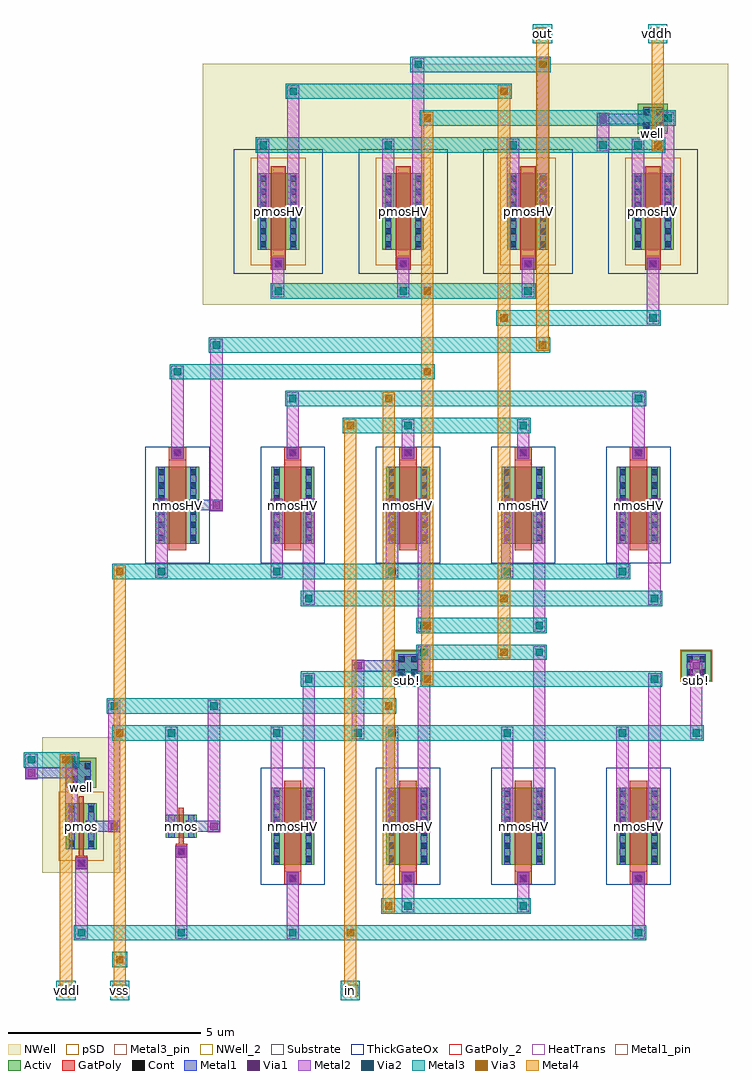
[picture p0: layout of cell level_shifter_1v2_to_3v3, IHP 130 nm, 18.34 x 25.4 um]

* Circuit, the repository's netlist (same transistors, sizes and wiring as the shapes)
** sch_path: /home/arjun/eda/projects/SAR_ADC/circuit_files/sar_adc_test/xschem/level_shifter_1v2_to_3v3.sch
.subckt level_shifter_1v2_to_3v3 vss vddl vddh out in
*.PININFO vddl:B vddh:B out:B vss:B in:B
MM1 inb in vss vss sg13_lv_nmos w=0.6u l=0.13u ng=1
MM2 inb in vddl vddl sg13_lv_pmos w=1.2u l=0.13u ng=1
MM3 a in vss vss sg13_hv_nmos w=2u l=0.45u ng=1 m=4
MM4 b inb vss vss sg13_hv_nmos w=2u l=0.45u ng=1 m=4
MM5 b a vddh vddh sg13_hv_pmos w=2u l=0.4u ng=1
MM6 a b vddh vddh sg13_hv_pmos w=2u l=0.4u ng=1
MM12 out a vss vss sg13_hv_nmos w=2u l=0.45u ng=1
MM16 out a vddh vddh sg13_hv_pmos w=2u l=0.4u ng=1 m=2
.ends

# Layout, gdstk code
import gdstk
lib = gdstk.Library(unit=1e-6, precision=1e-09)
def R(c, l, rs):  # rectangles x0, y0, x1, y1
    for r in rs: c.add(gdstk.rectangle(r[:2], r[2:], *l))
def A(c, l, x, y, w, h, nx, ny, dx, dy):  # array of equal rectangles
    R(c, l, [(x+i*dx, y+j*dy, x+i*dx+w, y+j*dy+h) for i in range(nx) for j in range(ny)])
Activ = (1, 0)
GatPoly = (5, 0)
GatPoly_2 = (5, 2)
Cont = (6, 0)
Metal1 = (8, 0)
Metal1_pin = (8, 2)
Metal2 = (10, 0)
pSD = (14, 0)
Via1 = (19, 0)
Via2 = (29, 0)
Metal3 = (30, 0)
Metal3_pin = (30, 2)
NWell = (31, 0)
NWell_2 = (31, 2)
Substrate = (40, 0)
ThickGateOx = (44, 0)
Via3 = (49, 0)
Metal4 = (50, 0)
HeatTrans = (51, 0)

level_shifter_1v2_to_3v3 = lib.new_cell('level_shifter_1v2_to_3v3')
A(level_shifter_1v2_to_3v3, Activ, -2.735, 3.27, 1.13, 2, 4, 1, 3, 0)
A(level_shifter_1v2_to_3v3, Activ, -5.735, 11.63, 1.13, 2, 5, 1, 3, 0)
A(level_shifter_1v2_to_3v3, Activ, -3.085, 19.27, 1.08, 2, 4, 1, 3.25, 0)
R(level_shifter_1v2_to_3v3, Activ, [(-2.735,3.27,-2.435,3.57), (-1.905,3.27,-1.605,3.57), (0.265,3.27,0.565,3.57), (1.095,3.27,1.395,3.57), (3.265,3.27,3.565,3.57), (4.095,3.27,4.395,3.57), (6.265,3.27,6.565,3.57), (7.095,3.27,7.395,3.57), (-8.075,3.67,-7.775,3.97), (-8.075,3.67,-7.265,4.87), (-7.565,3.67,-7.265,3.97), (-5.475,3.97,-5.175,4.27), (-5.475,3.97,-4.665,4.57), (-4.965,3.97,-4.665,4.27), (-8.06,5.27,-7.28,6.05), (0.44,8.06,1.22,8.84), (7.94,8.06,8.72,8.84), (-5.735,11.63,-5.435,11.93), (-4.905,11.63,-4.605,11.93), (-2.735,11.63,-2.435,11.93), (-1.905,11.63,-1.605,11.93), (0.265,11.63,0.565,11.93), (1.095,11.63,1.395,11.93), (3.265,11.63,3.565,11.93), (4.095,11.63,4.395,11.93), (6.265,11.63,6.565,11.93), (7.095,11.63,7.395,11.93), (-3.085,19.27,-2.785,19.57), (-2.305,19.27,-2.005,19.57), (0.165,19.27,0.465,19.57), (0.945,19.27,1.245,19.57), (3.415,19.27,3.715,19.57), (4.195,19.27,4.495,19.57), (6.665,19.27,6.965,19.57), (7.445,19.27,7.745,19.57), (6.815,22.29,7.595,23.07)])
A(level_shifter_1v2_to_3v3, GatPoly, -2.395, 2.76, 0.45, 0.35, 4, 1, 3, 0)
A(level_shifter_1v2_to_3v3, GatPoly, -2.395, 3.09, 0.45, 2.36, 4, 1, 3, 0)
A(level_shifter_1v2_to_3v3, GatPoly, -5.395, 11.45, 0.45, 2.36, 5, 1, 3, 0)
A(level_shifter_1v2_to_3v3, GatPoly, -5.395, 13.79, 0.45, 0.35, 5, 1, 3, 0)
A(level_shifter_1v2_to_3v3, GatPoly, -2.745, 18.76, 0.4, 0.35, 4, 1, 3.25, 0)
A(level_shifter_1v2_to_3v3, GatPoly, -2.745, 19.09, 0.4, 2.36, 4, 1, 3.25, 0)
R(level_shifter_1v2_to_3v3, GatPoly, [(-7.82,3.16,-7.52,3.51), (-5.22,3.46,-4.92,3.81), (-7.735,3.49,-7.605,5.05), (-7.735,3.49,-7.605,5.05), (-5.135,3.79,-5.005,4.75)])
A(level_shifter_1v2_to_3v3, GatPoly_2, -2.395, 3.09, 0.45, 2.36, 4, 1, 3, 0)
A(level_shifter_1v2_to_3v3, GatPoly_2, -5.395, 11.45, 0.45, 2.36, 5, 1, 3, 0)
A(level_shifter_1v2_to_3v3, GatPoly_2, -2.745, 19.09, 0.4, 2.36, 4, 1, 3.25, 0)
R(level_shifter_1v2_to_3v3, GatPoly_2, [(-5.135,3.79,-5.005,4.75)])
A(level_shifter_1v2_to_3v3, Cont, -2.25, 2.83, 0.16, 0.16, 4, 1, 3, 0)
A(level_shifter_1v2_to_3v3, Cont, -2.665, 3.34, 0.16, 0.16, 1, 6, 0, 0.34)
A(level_shifter_1v2_to_3v3, Cont, -1.835, 3.34, 0.16, 0.16, 1, 6, 0, 0.34)
A(level_shifter_1v2_to_3v3, Cont, 0.335, 3.34, 0.16, 0.16, 1, 6, 0, 0.34)
A(level_shifter_1v2_to_3v3, Cont, 1.165, 3.34, 0.16, 0.16, 1, 6, 0, 0.34)
A(level_shifter_1v2_to_3v3, Cont, 3.335, 3.34, 0.16, 0.16, 1, 6, 0, 0.34)
A(level_shifter_1v2_to_3v3, Cont, 4.165, 3.34, 0.16, 0.16, 1, 6, 0, 0.34)
A(level_shifter_1v2_to_3v3, Cont, 6.335, 3.34, 0.16, 0.16, 1, 6, 0, 0.34)
A(level_shifter_1v2_to_3v3, Cont, 7.165, 3.34, 0.16, 0.16, 1, 6, 0, 0.34)
A(level_shifter_1v2_to_3v3, Cont, -8.005, 3.74, 0.16, 0.16, 1, 3, 0, 0.45)
A(level_shifter_1v2_to_3v3, Cont, -7.495, 3.74, 0.16, 0.16, 1, 3, 0, 0.45)
A(level_shifter_1v2_to_3v3, Cont, -5.665, 11.7, 0.16, 0.16, 1, 6, 0, 0.34)
A(level_shifter_1v2_to_3v3, Cont, -4.835, 11.7, 0.16, 0.16, 1, 6, 0, 0.34)
A(level_shifter_1v2_to_3v3, Cont, -2.665, 11.7, 0.16, 0.16, 1, 6, 0, 0.34)
A(level_shifter_1v2_to_3v3, Cont, -1.835, 11.7, 0.16, 0.16, 1, 6, 0, 0.34)
A(level_shifter_1v2_to_3v3, Cont, 0.335, 11.7, 0.16, 0.16, 1, 6, 0, 0.34)
A(level_shifter_1v2_to_3v3, Cont, 1.165, 11.7, 0.16, 0.16, 1, 6, 0, 0.34)
A(level_shifter_1v2_to_3v3, Cont, 3.335, 11.7, 0.16, 0.16, 1, 6, 0, 0.34)
A(level_shifter_1v2_to_3v3, Cont, 4.165, 11.7, 0.16, 0.16, 1, 6, 0, 0.34)
A(level_shifter_1v2_to_3v3, Cont, 6.335, 11.7, 0.16, 0.16, 1, 6, 0, 0.34)
A(level_shifter_1v2_to_3v3, Cont, 7.165, 11.7, 0.16, 0.16, 1, 6, 0, 0.34)
A(level_shifter_1v2_to_3v3, Cont, -5.25, 13.91, 0.16, 0.16, 5, 1, 3, 0)
A(level_shifter_1v2_to_3v3, Cont, -2.625, 18.83, 0.16, 0.16, 4, 1, 3.25, 0)
A(level_shifter_1v2_to_3v3, Cont, -3.015, 19.34, 0.16, 0.16, 1, 6, 0, 0.34)
A(level_shifter_1v2_to_3v3, Cont, -2.235, 19.34, 0.16, 0.16, 1, 6, 0, 0.34)
A(level_shifter_1v2_to_3v3, Cont, 0.235, 19.34, 0.16, 0.16, 1, 6, 0, 0.34)
A(level_shifter_1v2_to_3v3, Cont, 1.015, 19.34, 0.16, 0.16, 1, 6, 0, 0.34)
A(level_shifter_1v2_to_3v3, Cont, 3.485, 19.34, 0.16, 0.16, 1, 6, 0, 0.34)
A(level_shifter_1v2_to_3v3, Cont, 4.265, 19.34, 0.16, 0.16, 1, 6, 0, 0.34)
A(level_shifter_1v2_to_3v3, Cont, 6.735, 19.34, 0.16, 0.16, 1, 6, 0, 0.34)
A(level_shifter_1v2_to_3v3, Cont, 7.515, 19.34, 0.16, 0.16, 1, 6, 0, 0.34)
R(level_shifter_1v2_to_3v3, Cont, [(-7.75,3.23,-7.59,3.39), (-5.15,3.53,-4.99,3.69), (-5.405,4.19,-5.245,4.35), (-4.895,4.19,-4.735,4.35), (-7.92,5.41,-7.76,5.57), (-7.58,5.41,-7.42,5.57), (-7.92,5.75,-7.76,5.91), (-7.58,5.75,-7.42,5.91), (0.58,8.2,0.74,8.36), (0.92,8.2,1.08,8.36), (8.08,8.2,8.24,8.36), (8.42,8.2,8.58,8.36), (0.58,8.54,0.74,8.7), (0.92,8.54,1.08,8.7), (8.08,8.54,8.24,8.7), (8.42,8.54,8.58,8.7), (6.955,22.43,7.115,22.59), (7.295,22.43,7.455,22.59), (6.955,22.77,7.115,22.93), (7.295,22.77,7.455,22.93)])
A(level_shifter_1v2_to_3v3, Metal1, -2.33, 2.75, 0.32, 0.32, 4, 1, 3, 0)
A(level_shifter_1v2_to_3v3, Metal1, -2.315, 2.805, 0.29, 0.21, 4, 1, 3, 0)
A(level_shifter_1v2_to_3v3, Metal1, -5.33, 13.83, 0.32, 0.32, 5, 1, 3, 0)
A(level_shifter_1v2_to_3v3, Metal1, -5.315, 13.885, 0.29, 0.21, 5, 1, 3, 0)
A(level_shifter_1v2_to_3v3, Metal1, -2.705, 18.75, 0.32, 0.32, 4, 1, 3.25, 0)
A(level_shifter_1v2_to_3v3, Metal1, -2.69, 18.805, 0.29, 0.21, 4, 1, 3.25, 0)
R(level_shifter_1v2_to_3v3, Metal1, [(-7.83,3.15,-7.51,3.47), (-7.815,3.205,-7.525,3.415), (-2.665,3.27,-2.505,5.27), (-1.835,3.27,-1.675,5.27), (0.335,3.27,0.495,5.27), (1.165,3.27,1.325,5.27), (3.335,3.27,3.495,5.27), (4.165,3.27,4.325,5.27), (6.335,3.27,6.495,5.27), (7.165,3.27,7.325,5.27), (-5.23,3.45,-4.91,3.77), (-5.215,3.505,-4.925,3.715), (-8.005,3.67,-7.845,4.87), (-8.005,3.67,-7.845,4.87), (-7.495,3.67,-7.335,4.87), (-7.495,3.67,-7.335,4.87), (-5.405,3.97,-5.245,4.57), (-4.895,3.97,-4.735,4.57), (-7.555,4.13,-6.675,4.41), (-4.955,4.13,-4.075,4.41), (-8.07,4.165,-7.78,4.375), (-6.96,4.165,-6.67,4.375), (-5.47,4.165,-5.18,4.375), (-4.36,4.165,-4.07,4.375), (-2.73,4.165,-2.44,4.375), (-1.9,4.165,-1.61,4.375), (0.27,4.165,0.56,4.375), (1.1,4.165,1.39,4.375), (3.27,4.165,3.56,4.375), (4.1,4.165,4.39,4.375), (6.27,4.165,6.56,4.375), (7.1,4.165,7.39,4.375), (-7.92,5.36,-7.42,5.96), (-9.11,5.52,-7.53,5.8), (-9.115,5.555,-8.825,5.765), (0.58,8.15,1.08,8.75), (8.08,8.15,8.58,8.75), (0.58,8.2,1.08,8.7), (8.08,8.2,8.58,8.7), (-0.61,8.31,0.97,8.59), (-0.615,8.345,-0.325,8.555), (8.185,8.345,8.475,8.555), (-5.665,11.63,-5.505,13.63), (-4.835,11.63,-4.675,13.63), (-2.665,11.63,-2.505,13.63), (-1.835,11.63,-1.675,13.63), (0.335,11.63,0.495,13.63), (1.165,11.63,1.325,13.63), (3.335,11.63,3.495,13.63), (4.165,11.63,4.325,13.63), (6.335,11.63,6.495,13.63), (7.165,11.63,7.325,13.63), (-4.895,12.49,-4.015,12.77), (-5.73,12.525,-5.44,12.735), (-4.3,12.525,-4.01,12.735), (-2.73,12.525,-2.44,12.735), (-1.9,12.525,-1.61,12.735), (0.27,12.525,0.56,12.735), (1.1,12.525,1.39,12.735), (3.27,12.525,3.56,12.735), (4.1,12.525,4.39,12.735), (6.27,12.525,6.56,12.735), (7.1,12.525,7.39,12.735), (-3.015,19.27,-2.855,21.27), (-2.235,19.27,-2.075,21.27), (0.235,19.27,0.395,21.27), (1.015,19.27,1.175,21.27), (3.485,19.27,3.645,21.27), (4.265,19.27,4.425,21.27), (6.735,19.27,6.895,21.27), (7.515,19.27,7.675,21.27), (-3.08,20.165,-2.79,20.375), (-2.3,20.165,-2.01,20.375), (0.17,20.165,0.46,20.375), (0.95,20.165,1.24,20.375), (3.42,20.165,3.71,20.375), (4.2,20.165,4.49,20.375), (6.67,20.165,6.96,20.375), (7.45,20.165,7.74,20.375), (6.955,22.38,7.455,22.98), (5.765,22.54,7.345,22.82), (5.76,22.575,6.05,22.785)])
R(level_shifter_1v2_to_3v3, Metal1_pin, [(-2.665,3.27,-2.505,5.27), (-1.835,3.27,-1.675,5.27), (0.335,3.27,0.495,5.27), (1.165,3.27,1.325,5.27), (3.335,3.27,3.495,5.27), (4.165,3.27,4.325,5.27), (6.335,3.27,6.495,5.27), (7.165,3.27,7.325,5.27), (-5.405,3.97,-5.245,4.57), (-4.895,3.97,-4.735,4.57), (-7.92,5.36,-7.42,5.96), (-7.92,5.41,-7.42,5.91), (0.58,8.2,1.08,8.7), (8.08,8.2,8.58,8.7), (-5.665,11.63,-5.505,13.63), (-4.835,11.63,-4.675,13.63), (-2.665,11.63,-2.505,13.63), (-1.835,11.63,-1.675,13.63), (0.335,11.63,0.495,13.63), (1.165,11.63,1.325,13.63), (3.335,11.63,3.495,13.63), (4.165,11.63,4.325,13.63), (6.335,11.63,6.495,13.63), (7.165,11.63,7.325,13.63), (-3.015,19.27,-2.855,21.27), (-2.235,19.27,-2.075,21.27), (0.235,19.27,0.395,21.27), (1.015,19.27,1.175,21.27), (3.485,19.27,3.645,21.27), (4.265,19.27,4.425,21.27), (6.735,19.27,6.895,21.27), (7.515,19.27,7.675,21.27), (6.955,22.38,7.455,22.98), (6.955,22.43,7.455,22.93)])
A(level_shifter_1v2_to_3v3, Metal2, -2.315, 2.81, 0.29, 0.2, 4, 1, 3, 0)
A(level_shifter_1v2_to_3v3, Metal2, -2.745, 4.11, 0.32, 2.75, 4, 1, 3, 0)
A(level_shifter_1v2_to_3v3, Metal2, 0.27, 6.6, 0.29, 0.2, 3, 1, 3, 0)
A(level_shifter_1v2_to_3v3, Metal2, -5.745, 10.74, 0.32, 2.05, 5, 1, 3, 0)
A(level_shifter_1v2_to_3v3, Metal2, -5.73, 10.8, 0.29, 0.2, 5, 1, 3, 0)
A(level_shifter_1v2_to_3v3, Metal2, -5.315, 13.89, 0.29, 0.2, 5, 1, 3, 0)
A(level_shifter_1v2_to_3v3, Metal2, -2.705, 18.04, 0.32, 1.03, 3, 1, 3.25, 0)
A(level_shifter_1v2_to_3v3, Metal2, -2.69, 18.1, 0.29, 0.2, 3, 1, 3.25, 0)
A(level_shifter_1v2_to_3v3, Metal2, -2.69, 18.81, 0.29, 0.2, 4, 1, 3.25, 0)
A(level_shifter_1v2_to_3v3, Metal2, -3.095, 20.11, 0.32, 2.05, 4, 1, 3.25, 0)
A(level_shifter_1v2_to_3v3, Metal2, -3.08, 21.9, 0.29, 0.2, 3, 1, 3.25, 0)
R(level_shifter_1v2_to_3v3, Metal2, [(-7.83,1.34,-7.51,3.47), (-5.23,1.34,-4.91,3.77), (-2.33,1.34,-2.01,3.07), (6.67,1.34,6.99,3.07), (-7.815,1.4,-7.525,1.6), (-5.215,1.4,-4.925,1.6), (-2.315,1.4,-2.025,1.6), (6.685,1.4,6.975,1.6), (0.67,2.04,0.99,3.07), (3.67,2.04,3.99,3.07), (0.685,2.1,0.975,2.3), (3.685,2.1,3.975,2.3), (-7.815,3.21,-7.525,3.41), (-5.215,3.51,-4.925,3.71), (-8.085,4.11,-7.765,6.16), (-6.975,4.11,-6.655,7.56), (-5.485,4.11,-5.165,6.86), (-4.375,4.11,-4.055,7.56), (-1.915,4.11,-1.595,8.26), (1.085,4.11,1.405,8.96), (4.085,4.11,4.405,8.96), (7.085,4.11,7.405,8.26), (-8.07,4.17,-7.78,4.37), (-6.96,4.17,-6.67,4.37), (-5.47,4.17,-5.18,4.37), (-4.36,4.17,-4.07,4.37), (-2.73,4.17,-2.44,4.37), (-1.9,4.17,-1.61,4.37), (0.27,4.17,0.56,4.37), (1.1,4.17,1.39,4.37), (3.27,4.17,3.56,4.37), (4.1,4.17,4.39,4.37), (6.27,4.17,6.56,4.37), (7.1,4.17,7.39,4.37), (-9.13,5.5,-8.81,6.16), (-9.115,5.56,-8.825,5.76), (-9.115,5.9,-8.825,6.1), (-8.07,5.9,-7.78,6.1), (-0.63,6.54,-0.31,8.61), (8.17,6.54,8.49,8.61), (-5.47,6.6,-5.18,6.8), (-2.73,6.6,-2.44,6.8), (-0.615,6.6,-0.325,6.8), (8.185,6.6,8.475,6.8), (-6.96,7.3,-6.67,7.5), (-4.36,7.3,-4.07,7.5), (-1.9,8,-1.61,8.2), (7.1,8,7.39,8.2), (-0.615,8.35,-0.325,8.55), (8.185,8.35,8.475,8.55), (1.1,8.7,1.39,8.9), (4.1,8.7,4.39,8.9), (1.085,9.34,1.405,12.79), (4.085,9.34,4.405,12.79), (1.1,9.4,1.39,9.6), (4.1,9.4,4.39,9.6), (-1.915,10.04,-1.595,12.79), (7.085,10.04,7.405,12.79), (-1.9,10.1,-1.61,10.3), (7.1,10.1,7.39,10.3), (-4.315,12.47,-3.995,16.96), (-5.73,12.53,-5.44,12.73), (-4.3,12.53,-4.01,12.73), (-2.73,12.53,-2.44,12.73), (-1.9,12.53,-1.61,12.73), (0.27,12.53,0.56,12.73), (1.1,12.53,1.39,12.73), (3.27,12.53,3.56,12.73), (4.1,12.53,4.39,12.73), (6.27,12.53,6.56,12.73), (7.1,12.53,7.39,12.73), (-5.33,13.83,-5.01,16.26), (-2.33,13.83,-2.01,15.56), (0.67,13.83,0.99,14.86), (3.67,13.83,3.99,14.86), (6.67,13.83,6.99,15.56), (0.685,14.6,0.975,14.8), (3.685,14.6,3.975,14.8), (-2.315,15.3,-2.025,15.5), (6.685,15.3,6.975,15.5), (-5.315,16,-5.025,16.2), (-4.3,16.7,-4.01,16.9), (7.045,17.34,7.365,19.07), (7.06,17.4,7.35,17.6), (-2.315,20.11,-1.995,23.56), (0.935,20.11,1.255,24.26), (4.185,20.11,4.505,24.26), (7.435,20.11,7.755,22.86), (-3.08,20.17,-2.79,20.37), (-2.3,20.17,-2.01,20.37), (0.17,20.17,0.46,20.37), (0.95,20.17,1.24,20.37), (3.42,20.17,3.71,20.37), (4.2,20.17,4.49,20.37), (6.67,20.17,6.96,20.37), (7.45,20.17,7.74,20.37), (5.745,21.84,6.065,22.84), (5.76,21.9,6.05,22.1), (6.67,21.9,6.96,22.1), (5.76,22.58,6.05,22.78), (7.45,22.6,7.74,22.8), (-2.3,23.3,-2.01,23.5), (0.95,24,1.24,24.2), (4.2,24,4.49,24.2)])
A(level_shifter_1v2_to_3v3, pSD, -3.265, 18.87, 1.44, 2.8, 4, 1, 3.25, 0)
R(level_shifter_1v2_to_3v3, pSD, [(-8.255,3.37,-7.085,5.17), (0.41,8.03,1.25,8.87), (7.91,8.03,8.75,8.87)])
A(level_shifter_1v2_to_3v3, Via1, -2.265, 2.815, 0.19, 0.19, 4, 1, 3, 0)
A(level_shifter_1v2_to_3v3, Via1, -5.265, 13.895, 0.19, 0.19, 5, 1, 3, 0)
A(level_shifter_1v2_to_3v3, Via1, -2.64, 18.815, 0.19, 0.19, 4, 1, 3.25, 0)
R(level_shifter_1v2_to_3v3, Via1, [(-7.765,3.215,-7.575,3.405), (-5.165,3.515,-4.975,3.705), (-8.02,4.175,-7.83,4.365), (-6.91,4.175,-6.72,4.365), (-5.42,4.175,-5.23,4.365), (-4.31,4.175,-4.12,4.365), (-2.68,4.175,-2.49,4.365), (-1.85,4.175,-1.66,4.365), (0.32,4.175,0.51,4.365), (1.15,4.175,1.34,4.365), (3.32,4.175,3.51,4.365), (4.15,4.175,4.34,4.365), (6.32,4.175,6.51,4.365), (7.15,4.175,7.34,4.365), (-9.065,5.565,-8.875,5.755), (-0.565,8.355,-0.375,8.545), (8.235,8.355,8.425,8.545), (-5.68,12.535,-5.49,12.725), (-4.25,12.535,-4.06,12.725), (-2.68,12.535,-2.49,12.725), (-1.85,12.535,-1.66,12.725), (0.32,12.535,0.51,12.725), (1.15,12.535,1.34,12.725), (3.32,12.535,3.51,12.725), (4.15,12.535,4.34,12.725), (6.32,12.535,6.51,12.725), (7.15,12.535,7.34,12.725), (-3.03,20.175,-2.84,20.365), (-2.25,20.175,-2.06,20.365), (0.22,20.175,0.41,20.365), (1,20.175,1.19,20.365), (3.47,20.175,3.66,20.365), (4.25,20.175,4.44,20.365), (6.72,20.175,6.91,20.365), (7.5,20.175,7.69,20.365), (5.81,22.585,6,22.775)])
A(level_shifter_1v2_to_3v3, Via2, 0.32, 6.605, 0.19, 0.19, 3, 1, 3, 0)
A(level_shifter_1v2_to_3v3, Via2, -5.68, 10.805, 0.19, 0.19, 5, 1, 3, 0)
A(level_shifter_1v2_to_3v3, Via2, -2.64, 18.105, 0.19, 0.19, 3, 1, 3.25, 0)
A(level_shifter_1v2_to_3v3, Via2, -3.03, 21.905, 0.19, 0.19, 3, 1, 3.25, 0)
R(level_shifter_1v2_to_3v3, Via2, [(-7.765,1.405,-7.575,1.595), (-5.165,1.405,-4.975,1.595), (-2.265,1.405,-2.075,1.595), (6.735,1.405,6.925,1.595), (0.735,2.105,0.925,2.295), (3.735,2.105,3.925,2.295), (-9.065,5.905,-8.875,6.095), (-8.02,5.905,-7.83,6.095), (-5.42,6.605,-5.23,6.795), (-2.68,6.605,-2.49,6.795), (-0.565,6.605,-0.375,6.795), (8.235,6.605,8.425,6.795), (-6.91,7.305,-6.72,7.495), (-4.31,7.305,-4.12,7.495), (-1.85,8.005,-1.66,8.195), (7.15,8.005,7.34,8.195), (1.15,8.705,1.34,8.895), (4.15,8.705,4.34,8.895), (1.15,9.405,1.34,9.595), (4.15,9.405,4.34,9.595), (-1.85,10.105,-1.66,10.295), (7.15,10.105,7.34,10.295), (0.735,14.605,0.925,14.795), (3.735,14.605,3.925,14.795), (-2.265,15.305,-2.075,15.495), (6.735,15.305,6.925,15.495), (-5.265,16.005,-5.075,16.195), (-4.25,16.705,-4.06,16.895), (7.11,17.405,7.3,17.595), (5.81,21.905,6,22.095), (6.72,21.905,6.91,22.095), (7.5,22.605,7.69,22.795), (-2.25,23.305,-2.06,23.495), (1,24.005,1.19,24.195), (4.25,24.005,4.44,24.195)])
A(level_shifter_1v2_to_3v3, Metal3, 0.27, 6.6, 0.29, 0.2, 3, 1, 3, 0)
A(level_shifter_1v2_to_3v3, Metal3, -5.73, 10.8, 0.29, 0.2, 5, 1, 3, 0)
A(level_shifter_1v2_to_3v3, Metal3, -3.08, 21.9, 0.29, 0.2, 3, 1, 3.25, 0)
R(level_shifter_1v2_to_3v3, Metal3, [(-8.32,-0.25,-7.82,0.25), (-6.92,-0.25,-6.42,0.25), (-0.92,-0.25,-0.42,0.25), (-8.215,-0.1,-7.925,0.1), (-6.815,-0.1,-6.525,0.1), (-0.815,-0.1,-0.525,0.1), (-6.87,0.6,-6.47,1), (-6.815,0.7,-6.525,0.9), (-7.87,1.3,7.03,1.7), (-7.815,1.4,-7.525,1.6), (-5.215,1.4,-4.925,1.6), (-2.315,1.4,-2.025,1.6), (-0.815,1.4,-0.525,1.6), (6.685,1.4,6.975,1.6), (0.13,2,4.03,2.4), (0.185,2.1,0.475,2.3), (0.685,2.1,0.975,2.3), (3.685,2.1,3.975,2.3), (-9.17,5.8,-7.725,6.2), (-9.115,5.9,-8.825,6.1), (-8.215,5.9,-7.925,6.1), (-8.07,5.9,-7.78,6.1), (-6.87,6.5,8.53,6.9), (-6.815,6.6,-6.525,6.8), (-5.47,6.6,-5.18,6.8), (-2.73,6.6,-2.44,6.8), (-0.615,6.6,-0.325,6.8), (8.185,6.6,8.475,6.8), (-7.015,7.2,0.53,7.6), (-6.96,7.3,-6.67,7.5), (-4.36,7.3,-4.07,7.5), (0.185,7.3,0.475,7.5), (-1.955,7.9,7.445,8.3), (-1.9,8,-1.61,8.2), (1.185,8,1.475,8.2), (7.1,8,7.39,8.2), (1.045,8.6,4.445,9), (1.1,8.7,1.39,8.9), (3.185,8.7,3.475,8.9), (4.1,8.7,4.39,8.9), (1.045,9.3,4.445,9.7), (1.1,9.4,1.39,9.6), (1.185,9.4,1.475,9.6), (4.1,9.4,4.39,9.6), (-1.955,10,7.445,10.4), (-1.9,10.1,-1.61,10.3), (3.185,10.1,3.475,10.3), (7.1,10.1,7.39,10.3), (-6.87,10.7,6.615,11.1), (-6.815,10.8,-6.525,11), (-0.87,14.5,4.03,14.9), (-0.815,14.6,-0.525,14.8), (0.685,14.6,0.975,14.8), (3.685,14.6,3.975,14.8), (-2.37,15.2,7.03,15.6), (-2.315,15.3,-2.025,15.5), (0.185,15.3,0.475,15.5), (6.685,15.3,6.975,15.5), (-5.37,15.9,1.53,16.3), (-5.315,16,-5.025,16.2), (1.185,16,1.475,16.2), (-4.355,16.6,4.53,17), (-4.3,16.7,-4.01,16.9), (4.185,16.7,4.475,16.9), (3.13,17.3,7.405,17.7), (3.185,17.4,3.475,17.6), (7.06,17.4,7.35,17.6), (-2.745,18,4.155,18.4), (-2.69,18.1,-2.4,18.3), (0.56,18.1,0.85,18.3), (1.185,18.1,1.475,18.3), (3.81,18.1,4.1,18.3), (-3.135,21.8,7.53,22.2), (5.76,21.9,6.05,22.1), (6.67,21.9,6.96,22.1), (7.185,21.9,7.475,22.1), (1.13,22.5,7.795,22.9), (1.185,22.6,1.475,22.8), (7.45,22.6,7.74,22.8), (-2.355,23.2,3.53,23.6), (-2.3,23.3,-2.01,23.5), (3.185,23.3,3.475,23.5), (0.895,23.9,4.545,24.3), (0.95,24,1.24,24.2), (4.185,24,4.475,24.2), (4.2,24,4.49,24.2), (4.08,24.65,4.58,25.15), (7.08,24.65,7.58,25.15), (4.185,24.8,4.475,25), (7.185,24.8,7.475,25)])
R(level_shifter_1v2_to_3v3, Metal3_pin, [(-8.27,-0.15,-7.87,0.15), (-6.87,-0.15,-6.47,0.15), (-0.87,-0.15,-0.47,0.15), (4.13,24.75,4.53,25.05), (7.13,24.75,7.53,25.05)])
A(level_shifter_1v2_to_3v3, NWell, -3.705, 18.65, 2.32, 3.24, 4, 1, 3.25, 0)
R(level_shifter_1v2_to_3v3, NWell, [(-8.685,3.06,-6.655,6.59), (-8.385,3.36,-6.955,5.18), (-8.3,5.03,-7.04,6.29), (-8.06,5.27,-7.28,6.05), (-4.505,17.85,9.165,24.11), (6.575,22.05,7.835,23.31), (6.815,22.29,7.595,23.07)])
R(level_shifter_1v2_to_3v3, NWell_2, [(-8.06,5.27,-7.28,6.05), (6.815,22.29,7.595,23.07)])
R(level_shifter_1v2_to_3v3, Substrate, [(0.44,8.06,1.22,8.84), (7.94,8.06,8.72,8.84)])
A(level_shifter_1v2_to_3v3, ThickGateOx, -3.005, 2.75, 1.67, 3.04, 4, 1, 3, 0)
A(level_shifter_1v2_to_3v3, ThickGateOx, -6.005, 11.11, 1.67, 3.04, 5, 1, 3, 0)
A(level_shifter_1v2_to_3v3, ThickGateOx, -3.705, 18.65, 2.32, 3.24, 4, 1, 3.25, 0)
R(level_shifter_1v2_to_3v3, Via3, [(-8.165,-0.095,-7.975,0.095), (-6.765,-0.095,-6.575,0.095), (-0.765,-0.095,-0.575,0.095), (-6.765,0.705,-6.575,0.895), (-0.765,1.405,-0.575,1.595), (0.235,2.105,0.425,2.295), (-8.165,5.905,-7.975,6.095), (-6.765,6.605,-6.575,6.795), (0.235,7.305,0.425,7.495), (1.235,8.005,1.425,8.195), (3.235,8.705,3.425,8.895), (1.235,9.405,1.425,9.595), (3.235,10.105,3.425,10.295), (-6.765,10.805,-6.575,10.995), (-0.765,14.605,-0.575,14.795), (0.235,15.305,0.425,15.495), (1.235,16.005,1.425,16.195), (4.235,16.705,4.425,16.895), (3.235,17.405,3.425,17.595), (1.235,18.105,1.425,18.295), (7.235,21.905,7.425,22.095), (1.235,22.605,1.425,22.795), (3.235,23.305,3.425,23.495), (4.235,24.005,4.425,24.195), (4.235,24.805,4.425,24.995), (7.235,24.805,7.425,24.995)])
R(level_shifter_1v2_to_3v3, Metal4, [(-8.23,-0.16,-7.91,6.16), (-6.83,-0.16,-6.51,11.06), (-0.83,-0.16,-0.51,14.86), (-8.215,-0.1,-7.925,0.1), (-6.815,-0.1,-6.525,0.1), (-0.815,-0.1,-0.525,0.1), (-6.815,0.7,-6.525,0.9), (-0.815,1.4,-0.525,1.6), (0.17,2.04,0.49,15.56), (0.185,2.1,0.475,2.3), (-8.215,5.9,-7.925,6.1), (-6.815,6.6,-6.525,6.8), (0.185,7.3,0.475,7.5), (1.17,7.94,1.49,22.86), (1.185,8,1.475,8.2), (3.17,8.64,3.49,23.56), (3.185,8.7,3.475,8.9), (1.185,9.4,1.475,9.6), (3.185,10.1,3.475,10.3), (-6.815,10.8,-6.525,11), (-0.815,14.6,-0.525,14.8), (0.185,15.3,0.475,15.5), (1.185,16,1.475,16.2), (4.17,16.64,4.49,25.06), (4.185,16.7,4.475,16.9), (3.185,17.4,3.475,17.6), (1.185,18.1,1.475,18.3), (7.17,21.84,7.49,25.06), (7.185,21.9,7.475,22.1), (1.185,22.6,1.475,22.8), (3.185,23.3,3.475,23.5), (4.185,24,4.475,24.2), (4.185,24.8,4.475,25), (7.185,24.8,7.475,25)])
A(level_shifter_1v2_to_3v3, HeatTrans, -2.395, 3.09, 0.45, 2.36, 4, 1, 3, 0)
A(level_shifter_1v2_to_3v3, HeatTrans, -5.395, 11.45, 0.45, 2.36, 5, 1, 3, 0)
A(level_shifter_1v2_to_3v3, HeatTrans, -2.745, 19.09, 0.4, 2.36, 4, 1, 3.25, 0)
R(level_shifter_1v2_to_3v3, HeatTrans, [(-7.735,3.49,-7.605,5.05), (-5.135,3.79,-5.005,4.75)])
level_shifter_1v2_to_3v3.add(gdstk.Label('pmos', (-7.67,4.27), layer=63, texttype=0))
level_shifter_1v2_to_3v3.add(gdstk.Label('nmos', (-5.07,4.27), layer=63, texttype=0))
level_shifter_1v2_to_3v3.add(gdstk.Label('nmosHV', (-2.17,4.27), layer=63, texttype=0))
level_shifter_1v2_to_3v3.add(gdstk.Label('nmosHV', (0.83,4.27), layer=63, texttype=0))
level_shifter_1v2_to_3v3.add(gdstk.Label('nmosHV', (3.83,4.27), layer=63, texttype=0))
level_shifter_1v2_to_3v3.add(gdstk.Label('nmosHV', (6.83,4.27), layer=63, texttype=0))
level_shifter_1v2_to_3v3.add(gdstk.Label('nmosHV', (-5.17,12.63), layer=63, texttype=0))
level_shifter_1v2_to_3v3.add(gdstk.Label('nmosHV', (-2.17,12.63), layer=63, texttype=0))
level_shifter_1v2_to_3v3.add(gdstk.Label('nmosHV', (0.83,12.63), layer=63, texttype=0))
level_shifter_1v2_to_3v3.add(gdstk.Label('nmosHV', (3.83,12.63), layer=63, texttype=0))
level_shifter_1v2_to_3v3.add(gdstk.Label('nmosHV', (6.83,12.63), layer=63, texttype=0))
level_shifter_1v2_to_3v3.add(gdstk.Label('pmosHV', (-2.545,20.27), layer=63, texttype=0))
level_shifter_1v2_to_3v3.add(gdstk.Label('pmosHV', (0.705,20.27), layer=63, texttype=0))
level_shifter_1v2_to_3v3.add(gdstk.Label('pmosHV', (3.955,20.27), layer=63, texttype=0))
level_shifter_1v2_to_3v3.add(gdstk.Label('pmosHV', (7.205,20.27), layer=63, texttype=0))
level_shifter_1v2_to_3v3.add(gdstk.Label('sub!', (0.83,8.07), layer=63, texttype=0))
level_shifter_1v2_to_3v3.add(gdstk.Label('sub!', (8.33,8.07), layer=63, texttype=0))
level_shifter_1v2_to_3v3.add(gdstk.Label('well', (-7.67,5.28), layer=63, texttype=0))
level_shifter_1v2_to_3v3.add(gdstk.Label('well', (7.205,22.3), layer=63, texttype=0))
level_shifter_1v2_to_3v3.add(gdstk.Label('pmos', (-7.67,4.27), layer=51, texttype=0))
level_shifter_1v2_to_3v3.add(gdstk.Label('nmos', (-5.07,4.27), layer=51, texttype=0))
level_shifter_1v2_to_3v3.add(gdstk.Label('nmosHV', (-2.17,4.27), layer=51, texttype=0))
level_shifter_1v2_to_3v3.add(gdstk.Label('nmosHV', (0.83,4.27), layer=51, texttype=0))
level_shifter_1v2_to_3v3.add(gdstk.Label('nmosHV', (3.83,4.27), layer=51, texttype=0))
level_shifter_1v2_to_3v3.add(gdstk.Label('nmosHV', (6.83,4.27), layer=51, texttype=0))
level_shifter_1v2_to_3v3.add(gdstk.Label('nmosHV', (-5.17,12.63), layer=51, texttype=0))
level_shifter_1v2_to_3v3.add(gdstk.Label('nmosHV', (-2.17,12.63), layer=51, texttype=0))
level_shifter_1v2_to_3v3.add(gdstk.Label('nmosHV', (0.83,12.63), layer=51, texttype=0))
level_shifter_1v2_to_3v3.add(gdstk.Label('nmosHV', (3.83,12.63), layer=51, texttype=0))
level_shifter_1v2_to_3v3.add(gdstk.Label('nmosHV', (6.83,12.63), layer=51, texttype=0))
level_shifter_1v2_to_3v3.add(gdstk.Label('pmos', (-2.545,20.27), layer=51, texttype=0))
level_shifter_1v2_to_3v3.add(gdstk.Label('pmos', (0.705,20.27), layer=51, texttype=0))
level_shifter_1v2_to_3v3.add(gdstk.Label('pmos', (3.955,20.27), layer=51, texttype=0))
level_shifter_1v2_to_3v3.add(gdstk.Label('pmos', (7.205,20.27), layer=51, texttype=0))
level_shifter_1v2_to_3v3.add(gdstk.Label('well', (-7.67,5.28), layer=31, texttype=0))
level_shifter_1v2_to_3v3.add(gdstk.Label('well', (7.205,22.3), layer=31, texttype=0))
level_shifter_1v2_to_3v3.add(gdstk.Label('sub!', (0.83,8.07), layer=40, texttype=0))
level_shifter_1v2_to_3v3.add(gdstk.Label('sub!', (8.33,8.07), layer=40, texttype=0))
level_shifter_1v2_to_3v3.add(gdstk.Label('vss', (-6.67,0), layer=30, texttype=25))
level_shifter_1v2_to_3v3.add(gdstk.Label('vddl', (-8.07,0), layer=30, texttype=25))
level_shifter_1v2_to_3v3.add(gdstk.Label('in', (-0.67,0), layer=30, texttype=25))
level_shifter_1v2_to_3v3.add(gdstk.Label('out', (4.33,24.9), layer=30, texttype=25))
level_shifter_1v2_to_3v3.add(gdstk.Label('vddh', (7.33,24.9), layer=30, texttype=25))

lib.write_gds('level_shifter_1v2_to_3v3.gds')
